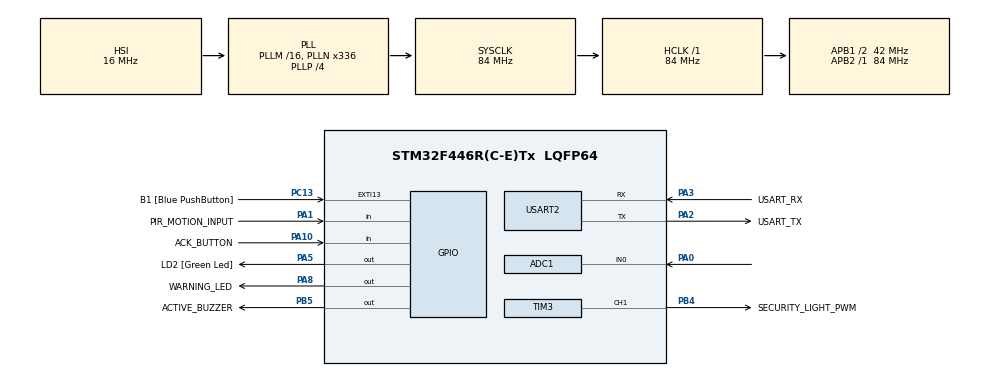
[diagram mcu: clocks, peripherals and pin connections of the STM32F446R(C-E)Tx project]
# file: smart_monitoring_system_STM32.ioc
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ADC1.Channel-0\#ChannelRegularConversion=ADC_CHANNEL_0
ADC1.NbrOfConversionFlag=1
ADC1.Rank-0\#ChannelRegularConversion=1
ADC1.SamplingTime-0\#ChannelRegularConversion=ADC_SAMPLETIME_3CYCLES
ADC1.master=1
Mcu.Family=STM32F4
Mcu.Name=STM32F446R(C-E)Tx
Mcu.Package=LQFP64
NVIC.PriorityGroup=NVIC_PRIORITYGROUP_0
PA0-WKUP.Signal=ADCx_IN0
PA1.GPIO_Label=PIR_MOTION_INPUT
PA1.Signal=GPIO_Input
PA10.GPIO_Label=ACK_BUTTON
PA10.GPIO_PuPd=GPIO_PULLUP
PA10.Signal=GPIO_Input
PA13.GPIO_Label=TMS
PA13.Mode=Serial_Wire
PA13.Signal=SYS_JTMS-SWDIO
PA14.GPIO_Label=TCK
PA14.Mode=Serial_Wire
PA14.Signal=SYS_JTCK-SWCLK
PA2.GPIO_Label=USART_TX
PA2.Mode=Asynchronous
PA2.Signal=USART2_TX
PA3.GPIO_Label=USART_RX
PA3.Mode=Asynchronous
PA3.Signal=USART2_RX
PA5.GPIO_Label=LD2 [Green Led]
PA5.Signal=GPIO_Output
PA8.GPIO_Label=WARNING_LED
PA8.Signal=GPIO_Output
PB3.GPIO_Label=SWO
PB3.Signal=SYS_JTDO-SWO
PB4.GPIO_Label=SECURITY_LIGHT_PWM
PB4.Signal=S_TIM3_CH1
PB5.GPIO_Label=ACTIVE_BUZZER
PB5.Signal=GPIO_Output
PC13.GPIO_Label=B1 [Blue PushButton]
PC13.GPIO_ModeDefaultEXTI=GPIO_MODE_IT_FALLING
PC13.Signal=GPXTI13
PC14-OSC32_IN.Mode=LSE-External-Oscillator
PC14-OSC32_IN.Signal=RCC_OSC32_IN
PC15-OSC32_OUT.Mode=LSE-External-Oscillator
PC15-OSC32_OUT.Signal=RCC_OSC32_OUT
PH0-OSC_IN.Mode=HSE-External-Oscillator
PH0-OSC_IN.Signal=RCC_OSC_IN
PH1-OSC_OUT.Mode=HSE-External-Oscillator
PH1-OSC_OUT.Signal=RCC_OSC_OUT
ProjectManager.HeapSize=0x200
ProjectManager.StackSize=0x400
ProjectManager.TargetToolchain=STM32CubeIDE
RCC.48MHZClocksFreq_Value=84000000
RCC.AHBFreq_Value=84000000
RCC.APB1CLKDivider=RCC_HCLK_DIV2
RCC.APB1Freq_Value=42000000
RCC.APB1TimFreq_Value=84000000
RCC.APB2Freq_Value=84000000
RCC.APB2TimFreq_Value=84000000
RCC.CortexFreq_Value=84000000
RCC.FLatency-AdvancedSettings=FLASH_LATENCY_2
RCC.HCLKFreq_Value=84000000
RCC.HSE_VALUE=8000000
RCC.HSI_VALUE=16000000
RCC.PLLN=336
RCC.PLLP=RCC_PLLP_DIV4
RCC.SYSCLKFreq_VALUE=84000000
RCC.SYSCLKSource=RCC_SYSCLKSOURCE_PLLCLK
RCC.USBFreq_Value=168000000
RCC.VCOOutputFreq_Value=336000000
SH.ADCx_IN0.0=ADC1_IN0,IN0
SH.S_TIM3_CH1.0=TIM3_CH1,PWM Generation1 CH1
TIM3.Channel-PWM\ Generation1\ CH1=TIM_CHANNEL_1
TIM3.Period=999
TIM3.Prescaler=83
USART2.VirtualMode=VM_ASYNC
board=NUCLEO-F446RE

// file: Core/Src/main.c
/* USER CODE BEGIN Header */
/**
  ******************************************************************************
  * @file           : main.c
  * @brief          : Main program body
  ******************************************************************************
  * @attention
  *
  * Copyright (c) 2026 STMicroelectronics.
  * All rights reserved.
  *
  * This software is licensed under terms that can be found in the LICENSE file
  * in the root directory of this software component.
  * If no LICENSE file comes with this software, it is provided AS-IS.
  *
  ******************************************************************************
  */
/* USER CODE END Header */
#include "main.h"

/* USER CODE BEGIN Includes */
#include <stdio.h>
#include <string.h>

/* USER CODE END Includes */

ADC_HandleTypeDef hadc1;

TIM_HandleTypeDef htim3;

UART_HandleTypeDef huart2;

/* USER CODE BEGIN PV */
uint32_t ldr_adc_value =0;
uint32_t ldr_voltage_mv = 0;
GPIO_PinState pir_state;
GPIO_PinState ack_button_state;
char uart_message[100];

/* USER CODE END PV */

void SystemClock_Config(void);
static void MX_GPIO_Init(void);
static void MX_ADC1_Init(void);
static void MX_USART2_UART_Init(void);
static void MX_TIM3_Init(void);

int main(void)
{

  /* MCU Configuration--------------------------------------------------------*/

  /* Reset of all peripherals, Initializes the Flash interface and the Systick. */
  HAL_Init();

  /* Configure the system clock */
  SystemClock_Config();

  /* Initialize all configured peripherals */
  MX_GPIO_Init();
  MX_ADC1_Init();
  MX_USART2_UART_Init();
  MX_TIM3_Init();
  /* USER CODE BEGIN 2 */
  char start_msg[] = "STM32 LDR, PIR, LED, buzzer and acknowledge button test started\r\n";
  HAL_UART_Transmit(&huart2, (uint8_t*)start_msg, strlen(start_msg), HAL_MAX_DELAY);

  /* Start PWM for Security Light LED on TIM3 Channel 1 */
  HAL_TIM_PWM_Start(&htim3, TIM_CHANNEL_1);

  /* USER CODE END 2 */

  /* Infinite loop */
  while (1)
  {

    /* USER CODE BEGIN 3 */
	  HAL_ADC_Start(&hadc1);
	  if (HAL_ADC_PollForConversion(&hadc1,HAL_MAX_DELAY)==HAL_OK){
		  ldr_adc_value = HAL_ADC_GetValue(&hadc1);
		  ldr_voltage_mv = (ldr_adc_value *3300)/ 4095;

		  snprintf(uart_message, sizeof(uart_message),
				  "LDR ADC Value: %lu | Voltage: %lu mV\r\n",
				  ldr_adc_value,
				  ldr_voltage_mv);

		  HAL_UART_Transmit(&huart2,
				  (uint8_t*)uart_message,
				  strlen(uart_message),
				  HAL_MAX_DELAY);

	  }
	  HAL_ADC_Stop(&hadc1);

	  // Read PIR motion Sensor
	  pir_state = HAL_GPIO_ReadPin(PIR_MOTION_INPUT_GPIO_Port, PIR_MOTION_INPUT_Pin);

	    if (pir_state == GPIO_PIN_SET)
	    {
	  	  snprintf(uart_message, sizeof(uart_message), "PIR Motion: DETECTED\r\n");
	    }
	    else
	    {
	  	  snprintf(uart_message, sizeof(uart_message), "PIR Motion: NOT DETECTED\r\n");
	    }

	    HAL_UART_Transmit(&huart2,
						  (uint8_t*)uart_message,
						  strlen(uart_message),
						  HAL_MAX_DELAY);

	    /* Read Reset/Acknowledge Button */
	    ack_button_state = HAL_GPIO_ReadPin(ACK_BUTTON_GPIO_Port, ACK_BUTTON_Pin);

	    if (ack_button_state == GPIO_PIN_RESET)
	    {
	        snprintf(uart_message, sizeof(uart_message), "Acknowledge Button: PRESSED\r\n");
	    }
	    else
	    {
	        snprintf(uart_message, sizeof(uart_message), "Acknowledge Button: NOT PRESSED\r\n");
	    }

	    HAL_UART_Transmit(&huart2,
	                      (uint8_t*)uart_message,
	                      strlen(uart_message),
	                      HAL_MAX_DELAY);

	    /* Test Security Light LED brightness using PWM */
	    __HAL_TIM_SET_COMPARE(&htim3, TIM_CHANNEL_1, 200);  // Low brightness

	    /* Test Warning LED ON/OFF */
	    HAL_GPIO_WritePin(WARNING_LED_GPIO_Port, WARNING_LED_Pin, GPIO_PIN_SET);
	    HAL_Delay(500);

	    __HAL_TIM_SET_COMPARE(&htim3, TIM_CHANNEL_1, 999);  // High brightness
	    HAL_GPIO_WritePin(WARNING_LED_GPIO_Port, WARNING_LED_Pin, GPIO_PIN_RESET);
	  HAL_Delay(500);

	  /* Test active buzzer */
	  HAL_GPIO_WritePin(ACTIVE_BUZZER_GPIO_Port, ACTIVE_BUZZER_Pin, GPIO_PIN_SET);

	  snprintf(uart_message, sizeof(uart_message), "Active Buzzer: ON\r\n");
	  HAL_UART_Transmit(&huart2, (uint8_t*)uart_message, strlen(uart_message), HAL_MAX_DELAY);

	  HAL_Delay(300);

	  HAL_GPIO_WritePin(ACTIVE_BUZZER_GPIO_Port, ACTIVE_BUZZER_Pin, GPIO_PIN_RESET);

	  snprintf(uart_message, sizeof(uart_message), "Active Buzzer: OFF\r\n");
	  HAL_UART_Transmit(&huart2, (uint8_t*)uart_message, strlen(uart_message), HAL_MAX_DELAY);

	  HAL_Delay(700);

  }

  /* USER CODE END 3 */
}

void SystemClock_Config(void)
{
  RCC_OscInitTypeDef RCC_OscInitStruct = {0};
  RCC_ClkInitTypeDef RCC_ClkInitStruct = {0};

  /** Configure the main internal regulator output voltage
  */
  __HAL_RCC_PWR_CLK_ENABLE();
  __HAL_PWR_VOLTAGESCALING_CONFIG(PWR_REGULATOR_VOLTAGE_SCALE3);

  /** Initializes the RCC Oscillators according to the specified parameters
  * in the RCC_OscInitTypeDef structure.
  */
  RCC_OscInitStruct.OscillatorType = RCC_OSCILLATORTYPE_HSI;
  RCC_OscInitStruct.HSIState = RCC_HSI_ON;
  RCC_OscInitStruct.HSICalibrationValue = RCC_HSICALIBRATION_DEFAULT;
  RCC_OscInitStruct.PLL.PLLState = RCC_PLL_ON;
  RCC_OscInitStruct.PLL.PLLSource = RCC_PLLSOURCE_HSI;
  RCC_OscInitStruct.PLL.PLLM = 16;
  RCC_OscInitStruct.PLL.PLLN = 336;
  RCC_OscInitStruct.PLL.PLLP = RCC_PLLP_DIV4;
  RCC_OscInitStruct.PLL.PLLQ = 2;
  RCC_OscInitStruct.PLL.PLLR = 2;
  if (HAL_RCC_OscConfig(&RCC_OscInitStruct) != HAL_OK)
  {
    Error_Handler();
  }

  /** Initializes the CPU, AHB and APB buses clocks
  */
  RCC_ClkInitStruct.ClockType = RCC_CLOCKTYPE_HCLK|RCC_CLOCKTYPE_SYSCLK
                              |RCC_CLOCKTYPE_PCLK1|RCC_CLOCKTYPE_PCLK2;
  RCC_ClkInitStruct.SYSCLKSource = RCC_SYSCLKSOURCE_PLLCLK;
  RCC_ClkInitStruct.AHBCLKDivider = RCC_SYSCLK_DIV1;
  RCC_ClkInitStruct.APB1CLKDivider = RCC_HCLK_DIV2;
  RCC_ClkInitStruct.APB2CLKDivider = RCC_HCLK_DIV1;

  if (HAL_RCC_ClockConfig(&RCC_ClkInitStruct, FLASH_LATENCY_2) != HAL_OK)
  {
    Error_Handler();
  }
}

static void MX_ADC1_Init(void)
{

  ADC_ChannelConfTypeDef sConfig = {0};

  /** Configure the global features of the ADC (Clock, Resolution, Data Alignment and number of conversion)
  */
  hadc1.Instance = ADC1;
  hadc1.Init.ClockPrescaler = ADC_CLOCK_SYNC_PCLK_DIV4;
  hadc1.Init.Resolution = ADC_RESOLUTION_12B;
  hadc1.Init.ScanConvMode = DISABLE;
  hadc1.Init.ContinuousConvMode = DISABLE;
  hadc1.Init.DiscontinuousConvMode = DISABLE;
  hadc1.Init.ExternalTrigConvEdge = ADC_EXTERNALTRIGCONVEDGE_NONE;
  hadc1.Init.ExternalTrigConv = ADC_SOFTWARE_START;
  hadc1.Init.DataAlign = ADC_DATAALIGN_RIGHT;
  hadc1.Init.NbrOfConversion = 1;
  hadc1.Init.DMAContinuousRequests = DISABLE;
  hadc1.Init.EOCSelection = ADC_EOC_SINGLE_CONV;
  if (HAL_ADC_Init(&hadc1) != HAL_OK)
  {
    Error_Handler();
  }

  /** Configure for the selected ADC regular channel its corresponding rank in the sequencer and its sample time.
  */
  sConfig.Channel = ADC_CHANNEL_0;
  sConfig.Rank = 1;
  sConfig.SamplingTime = ADC_SAMPLETIME_3CYCLES;
  if (HAL_ADC_ConfigChannel(&hadc1, &sConfig) != HAL_OK)
  {
    Error_Handler();
  }

}

static void MX_TIM3_Init(void)
{

  TIM_MasterConfigTypeDef sMasterConfig = {0};
  TIM_OC_InitTypeDef sConfigOC = {0};

  htim3.Instance = TIM3;
  htim3.Init.Prescaler = 83;
  htim3.Init.CounterMode = TIM_COUNTERMODE_UP;
  htim3.Init.Period = 999;
  htim3.Init.ClockDivision = TIM_CLOCKDIVISION_DIV1;
  htim3.Init.AutoReloadPreload = TIM_AUTORELOAD_PRELOAD_DISABLE;
  if (HAL_TIM_PWM_Init(&htim3) != HAL_OK)
  {
    Error_Handler();
  }
  sMasterConfig.MasterOutputTrigger = TIM_TRGO_RESET;
  sMasterConfig.MasterSlaveMode = TIM_MASTERSLAVEMODE_DISABLE;
  if (HAL_TIMEx_MasterConfigSynchronization(&htim3, &sMasterConfig) != HAL_OK)
  {
    Error_Handler();
  }
  sConfigOC.OCMode = TIM_OCMODE_PWM1;
  sConfigOC.Pulse = 0;
  sConfigOC.OCPolarity = TIM_OCPOLARITY_HIGH;
  sConfigOC.OCFastMode = TIM_OCFAST_DISABLE;
  if (HAL_TIM_PWM_ConfigChannel(&htim3, &sConfigOC, TIM_CHANNEL_1) != HAL_OK)
  {
    Error_Handler();
  }
  HAL_TIM_MspPostInit(&htim3);

}

static void MX_USART2_UART_Init(void)
{

  huart2.Instance = USART2;
  huart2.Init.BaudRate = 115200;
  huart2.Init.WordLength = UART_WORDLENGTH_8B;
  huart2.Init.StopBits = UART_STOPBITS_1;
  huart2.Init.Parity = UART_PARITY_NONE;
  huart2.Init.Mode = UART_MODE_TX_RX;
  huart2.Init.HwFlowCtl = UART_HWCONTROL_NONE;
  huart2.Init.OverSampling = UART_OVERSAMPLING_16;
  if (HAL_UART_Init(&huart2) != HAL_OK)
  {
    Error_Handler();
  }

}

static void MX_GPIO_Init(void)
{
  GPIO_InitTypeDef GPIO_InitStruct = {0};

  /* GPIO Ports Clock Enable */
  __HAL_RCC_GPIOC_CLK_ENABLE();
  __HAL_RCC_GPIOH_CLK_ENABLE();
  __HAL_RCC_GPIOA_CLK_ENABLE();
  __HAL_RCC_GPIOB_CLK_ENABLE();

  /*Configure GPIO pin Output Level */
  HAL_GPIO_WritePin(GPIOA, LD2_Pin|WARNING_LED_Pin, GPIO_PIN_RESET);

  /*Configure GPIO pin Output Level */
  HAL_GPIO_WritePin(ACTIVE_BUZZER_GPIO_Port, ACTIVE_BUZZER_Pin, GPIO_PIN_RESET);

  /*Configure GPIO pin : B1_Pin */
  GPIO_InitStruct.Pin = B1_Pin;
  GPIO_InitStruct.Mode = GPIO_MODE_IT_FALLING;
  GPIO_InitStruct.Pull = GPIO_NOPULL;
  HAL_GPIO_Init(B1_GPIO_Port, &GPIO_InitStruct);

  /*Configure GPIO pin : PIR_MOTION_INPUT_Pin */
  GPIO_InitStruct.Pin = PIR_MOTION_INPUT_Pin;
  GPIO_InitStruct.Mode = GPIO_MODE_INPUT;
  GPIO_InitStruct.Pull = GPIO_NOPULL;
  HAL_GPIO_Init(PIR_MOTION_INPUT_GPIO_Port, &GPIO_InitStruct);

  /*Configure GPIO pins : LD2_Pin WARNING_LED_Pin */
  GPIO_InitStruct.Pin = LD2_Pin|WARNING_LED_Pin;
  GPIO_InitStruct.Mode = GPIO_MODE_OUTPUT_PP;
  GPIO_InitStruct.Pull = GPIO_NOPULL;
  GPIO_InitStruct.Speed = GPIO_SPEED_FREQ_LOW;
  HAL_GPIO_Init(GPIOA, &GPIO_InitStruct);

  /*Configure GPIO pin : ACK_BUTTON_Pin */
  GPIO_InitStruct.Pin = ACK_BUTTON_Pin;
  GPIO_InitStruct.Mode = GPIO_MODE_INPUT;
  GPIO_InitStruct.Pull = GPIO_PULLUP;
  HAL_GPIO_Init(ACK_BUTTON_GPIO_Port, &GPIO_InitStruct);

  /*Configure GPIO pin : ACTIVE_BUZZER_Pin */
  GPIO_InitStruct.Pin = ACTIVE_BUZZER_Pin;
  GPIO_InitStruct.Mode = GPIO_MODE_OUTPUT_PP;
  GPIO_InitStruct.Pull = GPIO_NOPULL;
  GPIO_InitStruct.Speed = GPIO_SPEED_FREQ_LOW;
  HAL_GPIO_Init(ACTIVE_BUZZER_GPIO_Port, &GPIO_InitStruct);

}

void Error_Handler(void)
{
  __disable_irq();
  while (1)
  {
  }
}
